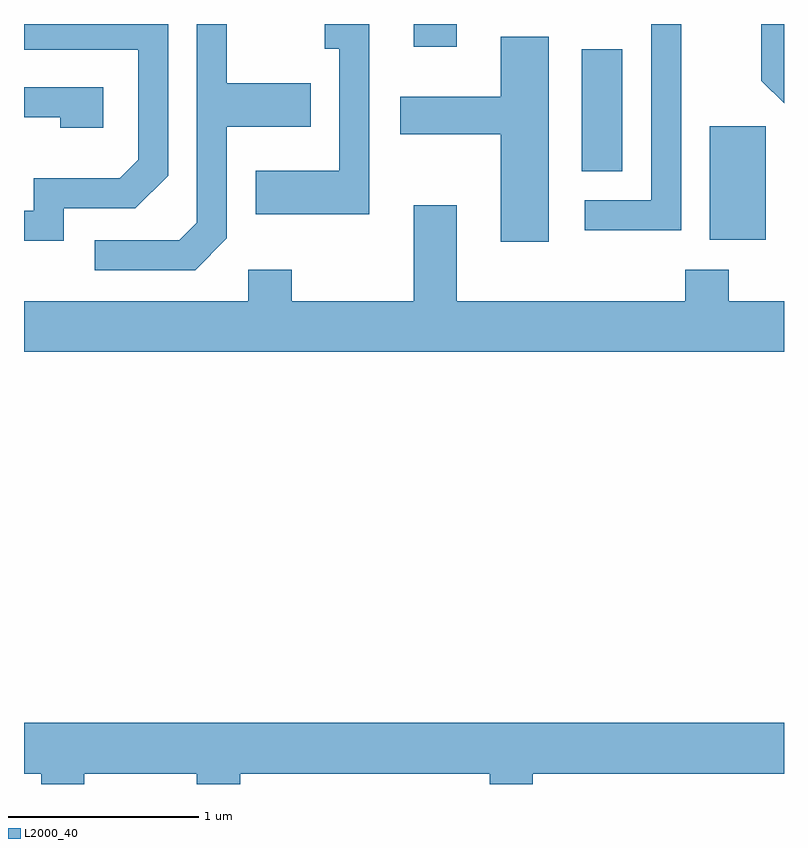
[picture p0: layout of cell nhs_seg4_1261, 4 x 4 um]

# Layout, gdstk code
import gdstk
lib = gdstk.Library(unit=1e-6, precision=1e-09)
def R(c, l, rs):  # rectangles x0, y0, x1, y1
    for r in rs: c.add(gdstk.rectangle(r[:2], r[2:], *l))
def P(c, l, *ps):  # polygons
    for p in ps: c.add(gdstk.Polygon(p, *l))
L2000_40 = (2000, 40)

nhs_seg4_1261 = lib.new_cell('nhs_seg4_1261')
R(nhs_seg4_1261, L2000_40, [(225.221,1330.846,225.514,1331.444), (224.546,1331.206,224.759,1331.849), (223.661,1331.861,223.889,1331.982)])
P(nhs_seg4_1261, L2000_40, [(221.819,1331.011),(222.197,1331.011),(222.369,1331.184),(222.369,1331.982),(221.611,1331.982),(221.611,1331.846),(222.211,1331.846),(222.211,1331.267),(222.114,1331.169),(221.661,1331.169),(221.661,1330.999),(221.611,1330.999),(221.611,1330.841),(221.819,1330.841)],
  [(223.429,1331.982),(223.193,1331.982),(223.193,1331.851),(223.271,1331.851),(223.271,1331.209),(222.831,1331.209),(222.831,1330.981),(223.429,1330.981)],
  [(225.069,1331.982),(224.911,1331.982),(224.911,1331.054),(224.563,1331.054),(224.563,1330.896),(225.069,1330.896)],
  [(225.611,1331.982),(225.491,1331.982),(225.491,1331.684),(225.611,1331.564)],
  [(222.679,1330.854),(222.679,1331.441),(223.119,1331.441),(223.119,1331.669),(222.679,1331.669),(222.679,1331.982),(222.521,1331.982),(222.521,1330.937),(222.429,1330.844),(221.983,1330.844),(221.983,1330.686),(222.512,1330.686)],
  [(224.374,1331.914),(224.121,1331.914),(224.121,1331.599),(223.591,1331.599),(223.591,1331.401),(224.121,1331.401),(224.121,1330.836),(224.374,1330.836)],
  [(222.029,1331.649),(221.611,1331.649),(221.611,1331.491),(221.801,1331.491),(221.801,1331.436),(222.029,1331.436)],
  [(225.611,1330.524),(225.319,1330.524),(225.319,1330.689),(225.091,1330.689),(225.091,1330.524),(223.889,1330.524),(223.889,1331.029),(223.661,1331.029),(223.661,1330.524),(223.019,1330.524),(223.019,1330.689),(222.791,1330.689),(222.791,1330.524),(221.611,1330.524),(221.611,1330.256),(225.611,1330.256)],
  [(221.929,1328.036),(222.521,1328.036),(222.521,1327.982),(222.749,1327.982),(222.749,1328.036),(224.061,1328.036),(224.061,1327.982),(224.289,1327.982),(224.289,1328.036),(225.611,1328.036),(225.611,1328.304),(221.611,1328.304),(221.611,1328.036),(221.701,1328.036),(221.701,1327.982),(221.929,1327.982)])

lib.write_gds('nhs_seg4_1261.gds')
